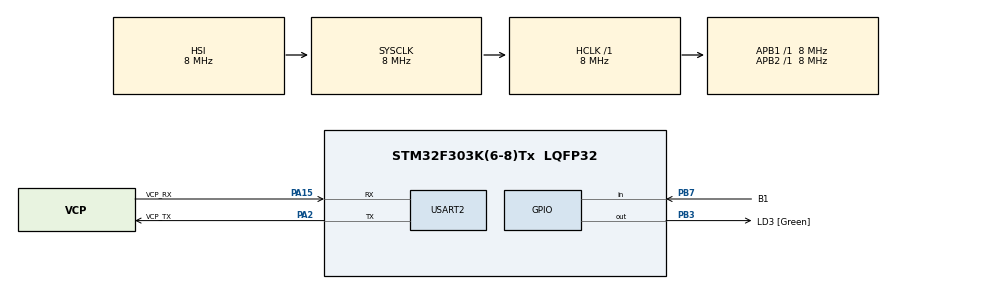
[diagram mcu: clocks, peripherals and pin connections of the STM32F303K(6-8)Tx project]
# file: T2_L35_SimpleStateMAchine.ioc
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Mcu.Family=STM32F3
Mcu.Name=STM32F303K(6-8)Tx
Mcu.Package=LQFP32
NVIC.PriorityGroup=NVIC_PRIORITYGROUP_4
PA13.GPIO_Label=SWDIO
PA13.Mode=Serial_Wire
PA13.Signal=SYS_JTMS-SWDIO
PA14.GPIO_Label=SWCLK
PA14.Mode=Serial_Wire
PA14.Signal=SYS_JTCK-SWCLK
PA15.GPIO_Label=VCP_RX
PA15.Mode=Asynchronous
PA15.Signal=USART2_RX
PA2.GPIO_Label=VCP_TX
PA2.Mode=Asynchronous
PA2.Signal=USART2_TX
PB3.GPIO_Label=LD3 [Green]
PB3.Signal=GPIO_Output
PB7.GPIO_Label=B1
PB7.Signal=GPIO_Input
PF0\ /\ OSC_IN.GPIO_Label=MCO
PF0\ /\ OSC_IN.Mode=HSE-External-Clock-Source
PF0\ /\ OSC_IN.Signal=RCC_OSC_IN
ProjectManager.HeapSize=0x200
ProjectManager.StackSize=0x400
ProjectManager.TargetToolchain=STM32CubeIDE
RCC.AHBFreq_Value=8000000
RCC.APB1Freq_Value=8000000
RCC.APB2Freq_Value=8000000
RCC.CortexFreq_Value=8000000
RCC.HSE_VALUE=8000000
RCC.HSI_VALUE=8000000
RCC.SYSCLKFreq_VALUE=8000000
USART2.VirtualMode-Asynchronous=VM_ASYNC
board=NUCLEO-F303K8

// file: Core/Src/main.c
/* USER CODE BEGIN Header */
/**
  ******************************************************************************
  * @file           : main.c
  * @brief          : Main program body
  ******************************************************************************
  * @attention
  *
  * <h2><center>&copy; Copyright (c) 2021 STMicroelectronics.
  * All rights reserved.</center></h2>
  *
  * This software component is licensed by ST under BSD 3-Clause license,
  * the "License"; You may not use this file except in compliance with the
  * License. You may obtain a copy of the License at:
  *                        opensource.org/licenses/BSD-3-Clause
  *
  ******************************************************************************
  */
/* USER CODE END Header */
#include "main.h"
#include "usart.h"
#include "gpio.h"

/* USER CODE BEGIN Includes */
#include "button.h"
/* USER CODE END Includes */

/* USER CODE BEGIN PV */
TButton BlueKey;
/* USER CODE END PV */

void SystemClock_Config(void);
/* USER CODE BEGIN PFP */
void TurnOnLed(void);
void TurnOffLed(void);
void ToggleLed(void);
/* USER CODE END PFP */

int main(void)
{

  /* MCU Configuration--------------------------------------------------------*/

  /* Reset of all peripherals, Initializes the Flash interface and the Systick. */
  HAL_Init();

  /* Configure the system clock */
  SystemClock_Config();

  /* Initialize all configured peripherals */
  MX_GPIO_Init();
  MX_USART2_UART_Init();
  /* USER CODE BEGIN 2 */
  ButtonInitKey(&BlueKey, B1_GPIO_Port, B1_Pin, 20, 2000, 500);
  ButtonRegisterPressCallback(&BlueKey, TurnOnLed);
  ButtonRegisterLongPressCallback(&BlueKey, TurnOffLed);
  ButtonRegisterRepeatCallback(&BlueKey, ToggleLed);
  /* USER CODE END 2 */

  /* Infinite loop */
  /* USER CODE BEGIN WHILE */
  while (1)
  {
	  ButtonTask(&BlueKey);

    /* USER CODE END WHILE */

  }
}

void SystemClock_Config(void)
{
  RCC_OscInitTypeDef RCC_OscInitStruct = {0};
  RCC_ClkInitTypeDef RCC_ClkInitStruct = {0};

  /** Initializes the RCC Oscillators according to the specified parameters
  * in the RCC_OscInitTypeDef structure.
  */
  RCC_OscInitStruct.OscillatorType = RCC_OSCILLATORTYPE_HSI;
  RCC_OscInitStruct.HSIState = RCC_HSI_ON;
  RCC_OscInitStruct.HSICalibrationValue = RCC_HSICALIBRATION_DEFAULT;
  RCC_OscInitStruct.PLL.PLLState = RCC_PLL_NONE;
  if (HAL_RCC_OscConfig(&RCC_OscInitStruct) != HAL_OK)
  {
    Error_Handler();
  }
  /** Initializes the CPU, AHB and APB buses clocks
  */
  RCC_ClkInitStruct.ClockType = RCC_CLOCKTYPE_HCLK|RCC_CLOCKTYPE_SYSCLK
                              |RCC_CLOCKTYPE_PCLK1|RCC_CLOCKTYPE_PCLK2;
  RCC_ClkInitStruct.SYSCLKSource = RCC_SYSCLKSOURCE_HSI;
  RCC_ClkInitStruct.AHBCLKDivider = RCC_SYSCLK_DIV1;
  RCC_ClkInitStruct.APB1CLKDivider = RCC_HCLK_DIV1;
  RCC_ClkInitStruct.APB2CLKDivider = RCC_HCLK_DIV1;

  if (HAL_RCC_ClockConfig(&RCC_ClkInitStruct, FLASH_LATENCY_0) != HAL_OK)
  {
    Error_Handler();
  }
}

/* USER CODE BEGIN 4 */
void ToggleLed(void)
{
	HAL_GPIO_TogglePin(LD3_GPIO_Port,LD3_Pin);
}
void TurnOnLed(void)
{
	HAL_GPIO_WritePin(LD3_GPIO_Port,LD3_Pin, GPIO_PIN_SET);
}
void TurnOffLed(void)
{
	HAL_GPIO_WritePin(LD3_GPIO_Port,LD3_Pin, GPIO_PIN_RESET);
}
/* USER CODE END 4 */

void Error_Handler(void)
{
  __disable_irq();
  while (1)
  {
  }
}

/************************ (C) COPYRIGHT STMicroelectronics *****END OF FILE****/
